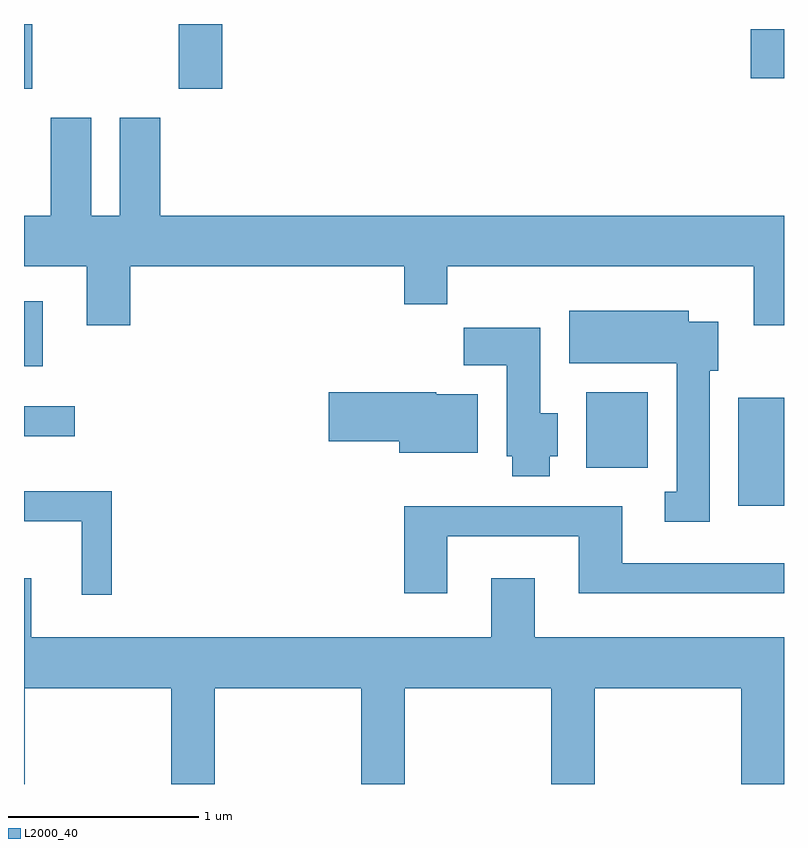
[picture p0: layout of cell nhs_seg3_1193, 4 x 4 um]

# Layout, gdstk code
import gdstk
lib = gdstk.Library(unit=1e-6, precision=1e-09)
def R(c, l, rs):  # rectangles x0, y0, x1, y1
    for r in rs: c.add(gdstk.rectangle(r[:2], r[2:], *l))
def P(c, l, *ps):  # polygons
    for p in ps: c.add(gdstk.Polygon(p, *l))
L2000_40 = (2000, 40)

nhs_seg3_1193 = lib.new_cell('nhs_seg3_1193')
R(nhs_seg3_1193, L2000_40, [(223.371,1191.356,223.611,1191.924), (222.571,1191.556,222.894,1191.954), (219.611,1191.721,219.878,1191.879), (219.611,1192.091,219.709,1192.434), (219.611,1193.551,219.654,1193.892), (220.426,1193.551,220.654,1193.892), (223.436,1193.606,223.611,1193.864)])
P(nhs_seg3_1193, L2000_40, [(220.169,1192.616),(221.611,1192.616),(221.611,1192.416),(221.839,1192.416),(221.839,1192.616),(223.451,1192.616),(223.451,1192.306),(223.611,1192.306),(223.611,1192.884),(220.329,1192.884),(220.329,1193.399),(220.116,1193.399),(220.116,1192.884),(219.964,1192.884),(219.964,1193.399),(219.751,1193.399),(219.751,1192.884),(219.611,1192.884),(219.611,1192.616),(219.941,1192.616),(219.941,1192.306),(220.169,1192.306)],
  [(223.219,1192.066),(223.264,1192.066),(223.264,1192.324),(223.109,1192.324),(223.109,1192.384),(222.481,1192.384),(222.481,1192.106),(223.046,1192.106),(223.046,1191.429),(222.983,1191.429),(222.983,1191.271),(223.219,1191.271)],
  [(222.379,1191.616),(222.419,1191.616),(222.419,1191.844),(222.329,1191.844),(222.329,1192.294),(221.926,1192.294),(221.926,1192.096),(222.151,1192.096),(222.151,1191.616),(222.181,1191.616),(222.181,1191.511),(222.379,1191.511)],
  [(221.999,1191.944),(221.78,1191.944),(221.78,1191.954),(221.216,1191.954),(221.216,1191.696),(221.586,1191.696),(221.586,1191.636),(221.999,1191.636)],
  [(220.074,1191.434),(219.611,1191.434),(219.611,1191.276),(219.916,1191.276),(219.916,1190.888),(220.074,1190.888)],
  [(221.839,1191.196),(222.531,1191.196),(222.531,1190.896),(223.611,1190.896),(223.611,1191.054),(222.759,1191.054),(222.759,1191.354),(221.611,1191.354),(221.611,1190.896),(221.839,1190.896)],
  [(219.614,1190.396),(220.386,1190.396),(220.386,1189.892),(220.614,1189.892),(220.614,1190.396),(221.386,1190.396),(221.386,1189.892),(221.614,1189.892),(221.614,1190.396),(222.386,1190.396),(222.386,1189.892),(222.614,1189.892),(222.614,1190.396),(223.386,1190.396),(223.386,1189.892),(223.611,1189.892),(223.611,1190.664),(222.299,1190.664),(222.299,1190.974),(222.071,1190.974),(222.071,1190.664),(219.649,1190.664),(219.649,1190.974),(219.611,1190.974),(219.611,1189.892),(219.614,1189.892)])

lib.write_gds('nhs_seg3_1193.gds')
